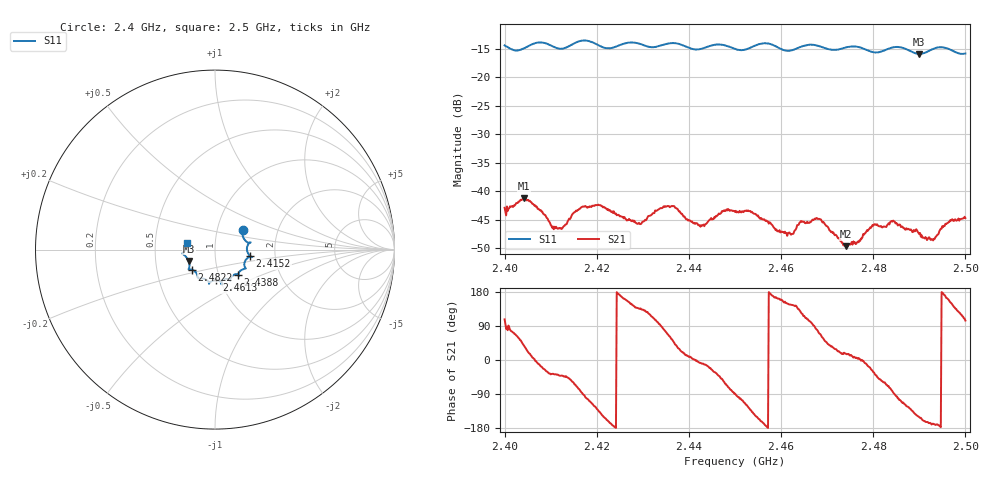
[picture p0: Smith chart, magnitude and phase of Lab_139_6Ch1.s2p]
# Hz S RI R 50
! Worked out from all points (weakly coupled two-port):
!   601 points, 2.4 GHz to 2.5 GHz, reference 50 ohm
!   highest |S21| = -41.24 dB at 2.4042 GHz (marker M1); lowest = -49.6 dB at 2.4742 GHz (marker M2)
!   lowest |S11| = -15.9 dB at 2.49 GHz (marker M3), VSWR 1.38, Z = 36.9 - j4.81 ohm
!   |S11| at or under -10 dB: start of sweep to end of sweep
!   S12 and S22 are empty: the file has one direction only
!   S11 on the Smith chart (normalised r, x): 2.4 GHz: 1.33, +0.31; 2.4152 GHz: 1.48, -0.11; 2.4388 GHz: 1.24, -0.36; 2.4613 GHz: 0.96, -0.34; 2.4822 GHz: 0.76, -0.17; 2.5 GHz: 0.73, +0.05
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2.4e9  0.1544 0.1112  -0.00211 0.00684  0 0  0 0
2.404167e9  0.1728 0.0464  0.00675 0.00544  0 0  0 0
2.411167e9  0.1802 0.0191  0.00385 -0.00299  0 0  0 0
2.415167e9  0.1954 -0.0363  0.00283 -0.00591  0 0  0 0
2.416667e9  0.2049 -0.0423  0.000581 -0.00721  0 0  0 0
2.420667e9  0.1824 -0.046  -0.00558 -0.00507  0 0  0 0
2.429167e9  0.1663 -0.1063  -0.00379 0.00367  0 0  0 0
2.433333e9  0.1317 -0.1328  -0.00101 0.00681  0 0  0 0
2.436667e9  0.1348 -0.1469  0.00495 0.00552  0 0  0 0
2.438833e9  0.1287 -0.1389  0.00571 0.00182  0 0  0 0
2.442833e9  0.0918 -0.1525  0.0049 -0.000858  0 0  0 0
2.45e9  0.0685 -0.1635  0.000158 -0.00658  0 0  0 0
2.461333e9  0.00764 -0.1705  -0.00348 0.00209  0 0  0 0
2.466667e9  -0.0332 -0.19  -0.000685 0.00548  0 0  0 0
2.468667e9  -0.0343 -0.1819  0.00234 0.00513  0 0  0 0
2.474167e9  -0.0874 -0.161  0.00317 0.00088  0 0  0 0
2.482167e9  -0.1282 -0.112  0.00255 -0.00418  0 0  0 0
2.483333e9  -0.1395 -0.1105  0.0019 -0.00488  0 0  0 0
2.49e9  -0.147 -0.0635  -0.00367 -0.00204  0 0  0 0
2.492833e9  -0.1736 -0.0284  -0.0037 -0.000755  0 0  0 0
2.496667e9  -0.1746 -0.0139  -0.00495 0.00252  0 0  0 0
2.5e9  -0.1579 0.0341  -0.00142 0.00564  0 0  0 0
